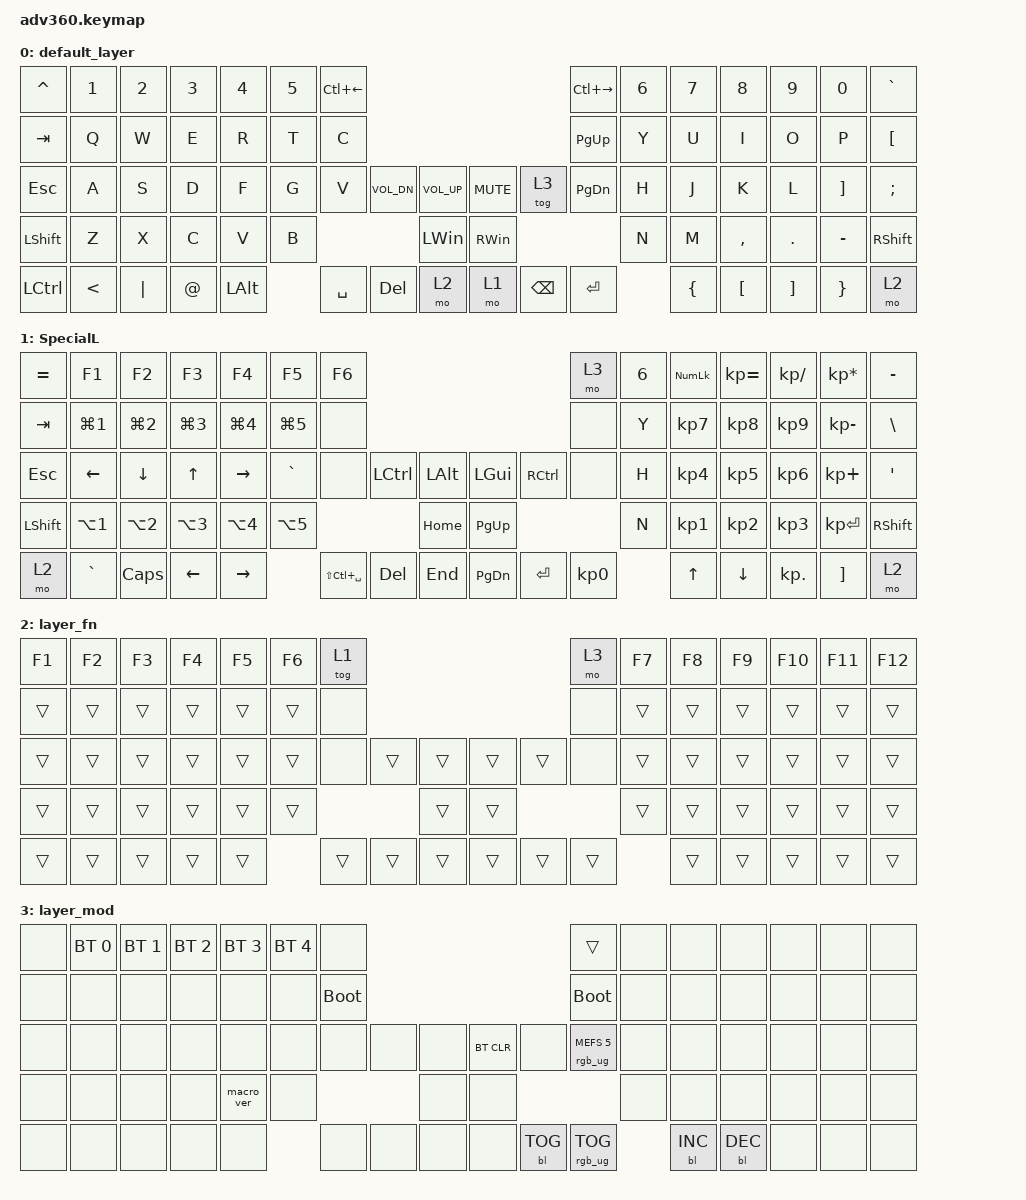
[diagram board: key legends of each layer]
/*
 * Copyright (c) 2020 The ZMK Contributors
 *
 * SPDX-License-Identifier: MIT
 */
/* THIS FILE WAS GENERATED!
 *
 * This file was generated automatically. You may or may not want to
 * edit it directly.
 */

#include <behaviors.dtsi>
#include <dt-bindings/zmk/backlight.h>
#include <dt-bindings/zmk/bt.h>
#include <dt-bindings/zmk/keys.h>
#include <dt-bindings/zmk/rgb.h>

/ {
    behaviors {
        #include "macros.dtsi"
    #include "version.dtsi"

        hm: homerow_mods {
            compatible = "zmk,behavior-hold-tap";
            label = "HOMEROW_MODS";
            #binding-cells = <2>;
            tapping-term-ms = <200>;
            quick_tap_ms = <175>;
            flavor = "tap-preferred";
            bindings = <&kp>, <&kp>;
        };
    };

    keymap {
        compatible = "zmk,keymap";

        default_layer {
            bindings = <
&kp CARET  &kp N1         &kp N2    &kp N3       &kp N4        &kp N5  &kp LC(LEFT)                                                                &kp LC(RIGHT)  &kp N6  &kp N7          &kp N8            &kp N9             &kp N0           &kp GRAVE
&kp TAB    &kp Q          &kp W     &kp E        &kp R         &kp T   &kp C                                                                       &kp PAGE_UP    &kp Y   &kp U           &kp I             &kp O              &kp P            &kp LBKT
&kp ESC    &kp A          &kp S     &kp D        &kp F         &kp G   &kp V         &kp C_VOL_DN  &kp C_VOL_UP      &kp C_MUTE     &tog 3         &kp PAGE_DOWN  &kp H   &kp J           &kp K             &kp L              &kp RBKT         &kp SEMICOLON
&kp LSHFT  &kp Z          &kp X     &kp C        &kp V         &kp B                               &kp LEFT_WIN      &kp RIGHT_WIN                                &kp N   &kp M           &kp COMMA         &kp DOT            &kp MINUS        &kp RSHFT
&kp LCTRL  &kp LESS_THAN  &kp PIPE  &kp AT_SIGN  &kp LEFT_ALT          &kp SPACE     &kp DEL       &mo 2             &mo 1          &kp BACKSPACE  &kp ENTER              &kp LEFT_BRACE  &kp LEFT_BRACKET  &kp RIGHT_BRACKET  &kp RIGHT_BRACE  &mo 2
            >;
        };

        SpecialL {
            bindings = <
&kp EQUAL  &kp F1            &kp F2            &kp F3            &kp F4            &kp F5            &kp F6                                                            &mo 3      &kp N6  &kp KP_NUM  &kp KP_EQUAL  &kp KP_DIVIDE  &kp KP_MULTIPLY  &kp MINUS
&kp TAB    &kp LG(NUMBER_1)  &kp LG(NUMBER_2)  &kp LG(NUMBER_3)  &kp LG(NUMBER_4)  &kp LG(NUMBER_5)  &none                                                             &none      &kp Y   &kp KP_N7   &kp KP_N8     &kp KP_N9      &kp KP_MINUS     &kp BSLH
&kp ESC    &kp LEFT          &kp DOWN          &kp UP            &kp RIGHT         &kp GRAVE         &none              &kp LCTRL  &kp LALT      &kp LGUI   &kp RCTRL  &none      &kp H   &kp KP_N4   &kp KP_N5     &kp KP_N6      &kp KP_PLUS      &kp SQT
&kp LSHFT  &kp LA(NUMBER_1)  &kp LA(NUMBER_2)  &kp LA(NUMBER_3)  &kp LA(NUMBER_4)  &kp LA(NUMBER_5)                                &kp HOME      &kp PG_UP                        &kp N   &kp KP_N1   &kp KP_N2     &kp KP_N3      &kp KP_ENTER     &kp RSHFT
&mo 2      &kp GRAVE         &kp CAPS          &kp LEFT          &kp RIGHT                           &kp LS(LC(SPACE))  &kp DEL    &kp END       &kp PG_DN  &kp ENTER  &kp KP_N0          &kp UP      &kp DOWN      &kp KP_DOT     &kp RBKT         &mo 2
            >;
        };

        layer_fn {
            bindings = <
&kp F1  &kp F2  &kp F3  &kp F4  &kp F5  &kp F6  &tog 1                                      &mo 3   &kp F7  &kp F8  &kp F9  &kp F10  &kp F11  &kp F12
&trans  &trans  &trans  &trans  &trans  &trans  &none                                       &none   &trans  &trans  &trans  &trans   &trans   &trans
&trans  &trans  &trans  &trans  &trans  &trans  &none   &trans  &trans      &trans  &trans  &none   &trans  &trans  &trans  &trans   &trans   &trans
&trans  &trans  &trans  &trans  &trans  &trans                  &trans      &trans                  &trans  &trans  &trans  &trans   &trans   &trans
&trans  &trans  &trans  &trans  &trans          &trans  &trans  &trans      &trans  &trans  &trans          &trans  &trans  &trans   &trans   &trans
            >;
        };

        layer_mod {
            bindings = <
&none  &bt BT_SEL 0  &bt BT_SEL 1  &bt BT_SEL 2  &bt BT_SEL 3  &bt BT_SEL 4  &none                                                  &trans                  &none  &none       &none       &none  &none  &none
&none  &none         &none         &none         &none         &none         &bootloader                                            &bootloader             &none  &none       &none       &none  &none  &none
&none  &none         &none         &none         &none         &none         &none        &none  &none      &bt BT_CLR  &none       &rgb_ug RGB_MEFS_CMD 5  &none  &none       &none       &none  &none  &none
&none  &none         &none         &none         &macro_ver    &none                             &none      &none                                           &none  &none       &none       &none  &none  &none
&none  &none         &none         &none         &none                       &none        &none  &none      &none       &bl BL_TOG  &rgb_ug RGB_TOG                &bl BL_INC  &bl BL_DEC  &none  &none  &none
            >;
        };
    };
};
